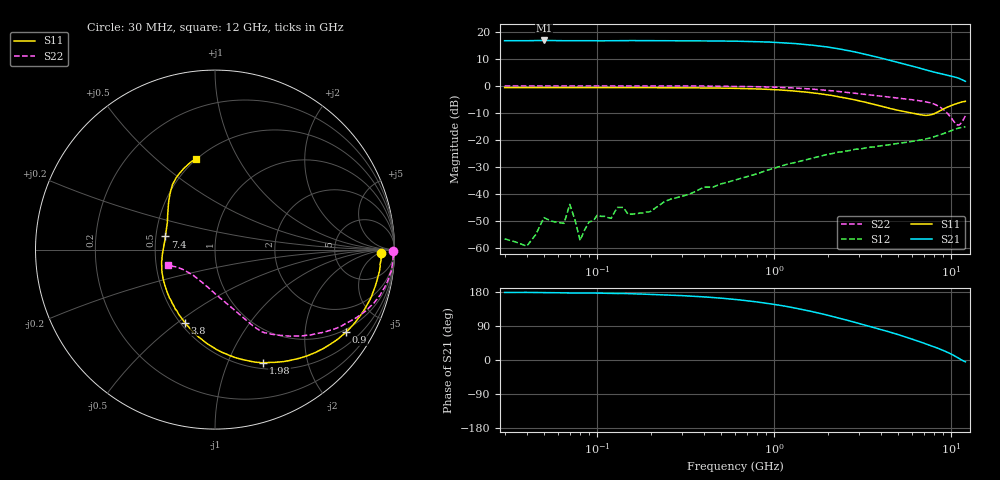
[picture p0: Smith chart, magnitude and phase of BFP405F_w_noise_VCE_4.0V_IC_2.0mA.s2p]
! Infineon Technologies  Discrete & RF Semiconductors
! BFP405F
! VCE =  4.0 V,  IC =  2.0 mA
! Common Emitter S-Parameters:  Nov 2015
# GHz  S  MA  R  50
!  f  S11  S21  S12  S22
! GHz  MAG  ANG  MAG  ANG  MAG  ANG  MAG  ANG
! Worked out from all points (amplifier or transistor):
!   239 points, 30 MHz to 12 GHz, reference 50 ohm
!   highest |S21| = 16.7 dB at 50 MHz (marker M1)
!   |S21| within 3 dB of that: start of sweep to 2.275 GHz
!   unconditionally stable (mu >= 1): 4.076 GHz to end of sweep
!   at 300 MHz: K = 0.01, MSG = 28.7 dB, |S12| = -40.8 dB
!   at 1.88 GHz: K = 0.37, MSG = 20.1 dB, |S12| = -25.7 dB
!   at 12 GHz: K = 1.67, MAG = 3.6 dB, |S12| = -15.1 dB
!   lowest NFmin = 1.01 dB at 450 MHz
!   S11 on the Smith chart (normalised r, x): 30 MHz: 25, -6; 900 MHz: 0.90, -3.24; 1.98 GHz: 0.57, -1.35; 3.8 GHz: 0.53, -0.53; 7.4 GHz: 0.56, +0.09; 12 GHz: 0.49, +0.68
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0.03  0.9272 -1.0  6.776 178.3  0.0015 99.8  0.9934 -0.5
0.04  0.923 -1.3  6.774 178.4  0.0011 89.8  0.9933 -0.6
0.05  0.9243 -1.7  6.855 177.7  0.0037 -170.9  0.9949 -1.1
0.065  0.9259 -2.4  6.777 177.1  0.0029 67.4  0.994 -1.0
0.07  0.9264 -2.8  6.779 176.7  0.0065 39.9  0.9926 -1.3
0.08  0.9243 -2.8  6.756 176.5  0.0014 135.6  0.991 -1.1
0.085  0.9254 -3.0  6.776 176.7  0.0022 150.6  0.9932 -1.4
0.13  0.9252 -4.7  6.762 175.5  0.0057 92.0  0.9946 -2.3
0.18  0.9245 -6.5  6.805 173.9  0.0045 87.2  0.993 -3.1
0.24  0.9214 -8.7  6.771 172.0  0.0073 82.7  0.9922 -4.2
0.4  0.9132 -14.4  6.732 166.6  0.0135 87.0  0.9891 -7.0
0.6  0.8973 -21.7  6.651 159.7  0.0182 77.6  0.9772 -10.5
0.9  0.8629 -32.2  6.442 149.9  0.0273 75.6  0.954 -15.5
1.2  0.8179 -42.3  6.124 140.5  0.0362 71.4  0.9214 -20.1
1.64  0.7423 -56.5  5.612 127.6  0.0462 64.6  0.8679 -26.3
1.98  0.6849 -66.9  5.209 118.7  0.0543 59.5  0.8251 -30.9
2.7  0.5702 -86.7  4.363 102.3  0.0644 51.6  0.7414 -38.9
3.8  0.4401 -112.4  3.379 83.4  0.0764 44.6  0.6563 -47.3
4.5  0.3824 -128.5  2.954 73.6  0.082 42.0  0.6179 -51.0
7.4  0.2862 165.1  1.911 40.3  0.1073 38.4  0.4956 -62.3
10.8  0.4731 113.8  1.404 6.7  0.1628 28.8  0.19 -119.2
12  0.5163 102.1  1.21 -4.8  0.1755 23.5  0.2772 -162.0
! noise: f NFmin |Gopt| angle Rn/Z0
0.45  1.01  0.58  7  0.45
0.9  1.03  0.54  15  0.46
1.5  1.15  0.52  21  0.41
1.9  1.2  0.49  29  0.4
2.4  1.39  0.46  38  0.41
3  1.47  0.43  49  0.39
3.5  1.53  0.42  59  0.36
4.5  1.72  0.35  76  0.3
5.5  1.97  0.23  93  0.22
